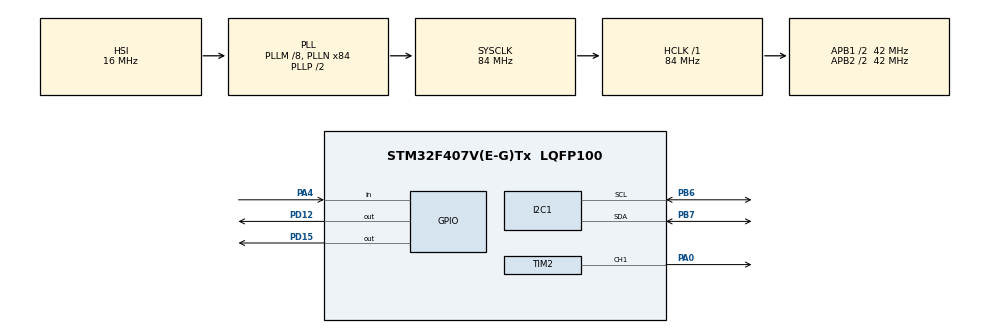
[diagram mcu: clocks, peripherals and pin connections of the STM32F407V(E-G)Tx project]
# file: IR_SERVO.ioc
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Mcu.Family=STM32F4
Mcu.Name=STM32F407V(E-G)Tx
Mcu.Package=LQFP100
NVIC.PriorityGroup=NVIC_PRIORITYGROUP_0
PA0-WKUP.Signal=S_TIM2_CH1_ETR
PA4.Signal=GPIO_Input
PB6.Mode=I2C
PB6.Signal=I2C1_SCL
PB7.Mode=I2C
PB7.Signal=I2C1_SDA
PD12.Signal=GPIO_Output
PD15.Signal=GPIO_Output
PH0-OSC_IN.Mode=HSE-External-Oscillator
PH0-OSC_IN.Signal=RCC_OSC_IN
PH1-OSC_OUT.Mode=HSE-External-Oscillator
PH1-OSC_OUT.Signal=RCC_OSC_OUT
ProjectManager.HeapSize=0x200
ProjectManager.StackSize=0x400
ProjectManager.TargetToolchain=STM32CubeIDE
RCC.48MHZClocksFreq_Value=24000000
RCC.AHBFreq_Value=84000000
RCC.APB1CLKDivider=RCC_HCLK_DIV2
RCC.APB1Freq_Value=42000000
RCC.APB1TimFreq_Value=84000000
RCC.APB2CLKDivider=RCC_HCLK_DIV2
RCC.APB2Freq_Value=42000000
RCC.APB2TimFreq_Value=84000000
RCC.CortexFreq_Value=84000000
RCC.HCLKFreq_Value=84000000
RCC.HSE_VALUE=8000000
RCC.HSI_VALUE=16000000
RCC.LSE_VALUE=32768
RCC.PLLM=8
RCC.PLLN=84
RCC.PLLQ=7
RCC.SYSCLKFreq_VALUE=84000000
RCC.SYSCLKSource=RCC_SYSCLKSOURCE_PLLCLK
RCC.VCOOutputFreq_Value=168000000
SH.S_TIM2_CH1_ETR.0=TIM2_CH1,PWM Generation1 CH1
TIM2.Channel-PWM\ Generation1\ CH1=TIM_CHANNEL_1
TIM2.Period=8400-1
TIM2.Prescaler=199
VP_TIM2_VS_ClockSourceINT.Mode=Internal
board=STM32F407G-DISC1

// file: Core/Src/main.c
/* USER CODE BEGIN Header */
/**
  ******************************************************************************
  * @file           : main.c
  * @brief          : Main program body
  ******************************************************************************
  * @attention
  *
  * Copyright (c) 2025 STMicroelectronics.
  * All rights reserved.
  *
  * This software is licensed under terms that can be found in the LICENSE file
  * in the root directory of this software component.
  * If no LICENSE file comes with this software, it is provided AS-IS.
  *
  ******************************************************************************
  */
/* USER CODE END Header */
#include "main.h"

/* USER CODE BEGIN Includes */
#include "i2c-lcd.h"
/* USER CODE END Includes */

I2C_HandleTypeDef hi2c1;

TIM_HandleTypeDef htim2;

void SystemClock_Config(void);
static void MX_GPIO_Init(void);
static void MX_TIM2_Init(void);
static void MX_I2C1_Init(void);

/* USER CODE BEGIN 0 */

void Set_Servo_Angle(TIM_HandleTypeDef *htim, uint32_t channel, uint8_t angle)
{
	// 0degree(0.5ms) = 210 counts and 180degree(2.5ms) = 1050 counts
	uint32_t pulse_count = 210 + (angle *(1050 - 210)/ 180);
	__HAL_TIM_SET_COMPARE(htim, channel, pulse_count);
}
/* USER CODE END 0 */

int main(void)
{

  /* MCU Configuration--------------------------------------------------------*/

  /* Reset of all peripherals, Initializes the Flash interface and the Systick. */
  HAL_Init();

  /* Configure the system clock */
  SystemClock_Config();

  /* Initialize all configured peripherals */
  MX_GPIO_Init();
  MX_TIM2_Init();
  MX_I2C1_Init();
  /* USER CODE BEGIN 2 */
  // Start PWM
  HAL_TIM_PWM_Start(&htim2, TIM_CHANNEL_1);

  /* USER CODE END 2 */
  lcd_init ();
   lcd_put_cur(0, 0);
   lcd_send_string ( "---WELCOME----");
   lcd_put_cur(1, 0);
   lcd_send_string("  LDR READING ");
   HAL_Delay(1000);
  /* Infinite loop */
  while (1)
  {

    /* USER CODE BEGIN 3 */
	  if(HAL_GPIO_ReadPin(GPIOA, GPIO_PIN_4)== 0)
	  {
	  HAL_GPIO_WritePin(GPIOD, GPIO_PIN_15, GPIO_PIN_RESET);
	  Set_Servo_Angle(&htim2, TIM_CHANNEL_1, 90);
	  HAL_Delay(3000);
	  HAL_GPIO_WritePin(GPIOD, GPIO_PIN_12, GPIO_PIN_SET);
	  HAL_Delay(400);
	  HAL_GPIO_WritePin(GPIOD, GPIO_PIN_12, GPIO_PIN_RESET);
	  HAL_Delay(400);
	  }
	  else
	  {
		  Set_Servo_Angle(&htim2, TIM_CHANNEL_1, 0);
		  HAL_GPIO_WritePin(GPIOD, GPIO_PIN_15, GPIO_PIN_SET);
	  }
  }
  /* USER CODE END 3 */
}

void SystemClock_Config(void)
{
  RCC_OscInitTypeDef RCC_OscInitStruct = {0};
  RCC_ClkInitTypeDef RCC_ClkInitStruct = {0};

  /** Configure the main internal regulator output voltage
  */
  __HAL_RCC_PWR_CLK_ENABLE();
  __HAL_PWR_VOLTAGESCALING_CONFIG(PWR_REGULATOR_VOLTAGE_SCALE1);

  /** Initializes the RCC Oscillators according to the specified parameters
  * in the RCC_OscInitTypeDef structure.
  */
  RCC_OscInitStruct.OscillatorType = RCC_OSCILLATORTYPE_HSI;
  RCC_OscInitStruct.HSIState = RCC_HSI_ON;
  RCC_OscInitStruct.HSICalibrationValue = RCC_HSICALIBRATION_DEFAULT;
  RCC_OscInitStruct.PLL.PLLState = RCC_PLL_ON;
  RCC_OscInitStruct.PLL.PLLSource = RCC_PLLSOURCE_HSI;
  RCC_OscInitStruct.PLL.PLLM = 8;
  RCC_OscInitStruct.PLL.PLLN = 84;
  RCC_OscInitStruct.PLL.PLLP = RCC_PLLP_DIV2;
  RCC_OscInitStruct.PLL.PLLQ = 7;
  if (HAL_RCC_OscConfig(&RCC_OscInitStruct) != HAL_OK)
  {
    Error_Handler();
  }

  /** Initializes the CPU, AHB and APB buses clocks
  */
  RCC_ClkInitStruct.ClockType = RCC_CLOCKTYPE_HCLK|RCC_CLOCKTYPE_SYSCLK
                              |RCC_CLOCKTYPE_PCLK1|RCC_CLOCKTYPE_PCLK2;
  RCC_ClkInitStruct.SYSCLKSource = RCC_SYSCLKSOURCE_PLLCLK;
  RCC_ClkInitStruct.AHBCLKDivider = RCC_SYSCLK_DIV1;
  RCC_ClkInitStruct.APB1CLKDivider = RCC_HCLK_DIV2;
  RCC_ClkInitStruct.APB2CLKDivider = RCC_HCLK_DIV2;

  if (HAL_RCC_ClockConfig(&RCC_ClkInitStruct, FLASH_LATENCY_2) != HAL_OK)
  {
    Error_Handler();
  }
}

static void MX_I2C1_Init(void)
{

  hi2c1.Instance = I2C1;
  hi2c1.Init.ClockSpeed = 100000;
  hi2c1.Init.DutyCycle = I2C_DUTYCYCLE_2;
  hi2c1.Init.OwnAddress1 = 0;
  hi2c1.Init.AddressingMode = I2C_ADDRESSINGMODE_7BIT;
  hi2c1.Init.DualAddressMode = I2C_DUALADDRESS_DISABLE;
  hi2c1.Init.OwnAddress2 = 0;
  hi2c1.Init.GeneralCallMode = I2C_GENERALCALL_DISABLE;
  hi2c1.Init.NoStretchMode = I2C_NOSTRETCH_DISABLE;
  if (HAL_I2C_Init(&hi2c1) != HAL_OK)
  {
    Error_Handler();
  }

}

static void MX_TIM2_Init(void)
{

  TIM_ClockConfigTypeDef sClockSourceConfig = {0};
  TIM_MasterConfigTypeDef sMasterConfig = {0};
  TIM_OC_InitTypeDef sConfigOC = {0};

  htim2.Instance = TIM2;
  htim2.Init.Prescaler = 199;
  htim2.Init.CounterMode = TIM_COUNTERMODE_UP;
  htim2.Init.Period = 8400-1;
  htim2.Init.ClockDivision = TIM_CLOCKDIVISION_DIV1;
  htim2.Init.AutoReloadPreload = TIM_AUTORELOAD_PRELOAD_DISABLE;
  if (HAL_TIM_Base_Init(&htim2) != HAL_OK)
  {
    Error_Handler();
  }
  sClockSourceConfig.ClockSource = TIM_CLOCKSOURCE_INTERNAL;
  if (HAL_TIM_ConfigClockSource(&htim2, &sClockSourceConfig) != HAL_OK)
  {
    Error_Handler();
  }
  if (HAL_TIM_PWM_Init(&htim2) != HAL_OK)
  {
    Error_Handler();
  }
  sMasterConfig.MasterOutputTrigger = TIM_TRGO_RESET;
  sMasterConfig.MasterSlaveMode = TIM_MASTERSLAVEMODE_DISABLE;
  if (HAL_TIMEx_MasterConfigSynchronization(&htim2, &sMasterConfig) != HAL_OK)
  {
    Error_Handler();
  }
  sConfigOC.OCMode = TIM_OCMODE_PWM1;
  sConfigOC.Pulse = 0;
  sConfigOC.OCPolarity = TIM_OCPOLARITY_HIGH;
  sConfigOC.OCFastMode = TIM_OCFAST_DISABLE;
  if (HAL_TIM_PWM_ConfigChannel(&htim2, &sConfigOC, TIM_CHANNEL_1) != HAL_OK)
  {
    Error_Handler();
  }
  HAL_TIM_MspPostInit(&htim2);

}

static void MX_GPIO_Init(void)
{
  GPIO_InitTypeDef GPIO_InitStruct = {0};

  /* GPIO Ports Clock Enable */
  __HAL_RCC_GPIOH_CLK_ENABLE();
  __HAL_RCC_GPIOA_CLK_ENABLE();
  __HAL_RCC_GPIOD_CLK_ENABLE();
  __HAL_RCC_GPIOB_CLK_ENABLE();

  /*Configure GPIO pin Output Level */
  HAL_GPIO_WritePin(GPIOD, GPIO_PIN_12|GPIO_PIN_15, GPIO_PIN_RESET);

  /*Configure GPIO pin : PA4 */
  GPIO_InitStruct.Pin = GPIO_PIN_4;
  GPIO_InitStruct.Mode = GPIO_MODE_INPUT;
  GPIO_InitStruct.Pull = GPIO_NOPULL;
  HAL_GPIO_Init(GPIOA, &GPIO_InitStruct);

  /*Configure GPIO pins : PD12 PD15 */
  GPIO_InitStruct.Pin = GPIO_PIN_12|GPIO_PIN_15;
  GPIO_InitStruct.Mode = GPIO_MODE_OUTPUT_PP;
  GPIO_InitStruct.Pull = GPIO_NOPULL;
  GPIO_InitStruct.Speed = GPIO_SPEED_FREQ_LOW;
  HAL_GPIO_Init(GPIOD, &GPIO_InitStruct);

}

void Error_Handler(void)
{
  __disable_irq();
  while (1)
  {
  }
}
